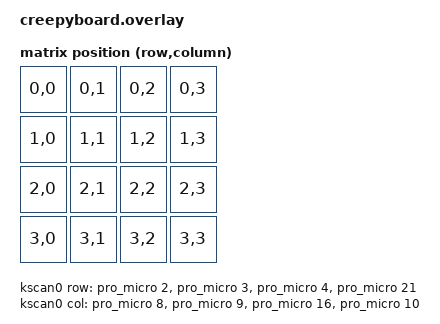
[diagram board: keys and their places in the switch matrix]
#include <dt-bindings/zmk/matrix_transform.h>
#include "creepyboard-layouts.dtsi"

/ {
    chosen {
        zmk,kscan = &kscan0;
        zmk,matrix_transform = &default_transform;
    };
    kscan0: kscan0 {
        compatible = "zmk,kscan-gpio-matrix";
        diode-direction = "col2row";
        wakeup-source;

        col-gpios
            = <&pro_micro 8 GPIO_ACTIVE_HIGH>
            , <&pro_micro 9 GPIO_ACTIVE_HIGH>
            , <&pro_micro 16 GPIO_ACTIVE_HIGH>
            , <&pro_micro 10 GPIO_ACTIVE_HIGH>
            ;

        row-gpios
            = <&pro_micro 2 (GPIO_ACTIVE_HIGH | GPIO_PULL_DOWN)>
            , <&pro_micro 3 (GPIO_ACTIVE_HIGH | GPIO_PULL_DOWN)>
            , <&pro_micro 4 (GPIO_ACTIVE_HIGH | GPIO_PULL_DOWN)>
            , <&pro_micro 21 (GPIO_ACTIVE_HIGH | GPIO_PULL_DOWN)>
            ;
    };
};

/ {
    default_transform: keymap_transform0 {
        compatible = "zmk,matrix-transform";
        columns = <4>; // Length of the "col-gpios" array
        rows = <4>; // Length of the "row-gpios" array
        map = <
        //   Key 1 | Key 2 | Key 3 | Key 4
            RC(0,0) RC(0,1) RC(0,2) RC(0,3)
        //   Key 5 | Key 6 | Key 7 | Key 8
            RC(1,0) RC(1,1) RC(1,2) RC(1,3)
        //   Key 9 | Key 10 | Key 11 | Key 12
            RC(2,0) RC(2,1) RC(2,2) RC(2,3)
        //   Key 13 | Key 14 | Key 15 | Key 16
            RC(3,0) RC(3,1) RC(3,2) RC(3,3)
        >;
    };
};


